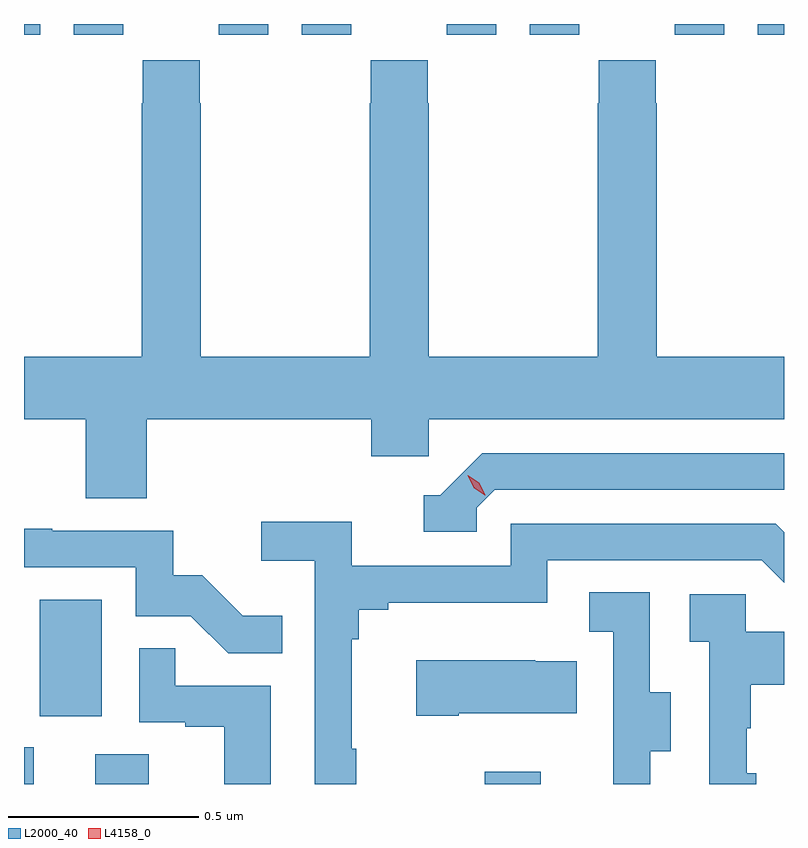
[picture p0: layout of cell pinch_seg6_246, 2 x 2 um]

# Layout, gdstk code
import gdstk
lib = gdstk.Library(unit=1e-6, precision=1e-09)
def R(c, l, rs):  # rectangles x0, y0, x1, y1
    for r in rs: c.add(gdstk.rectangle(r[:2], r[2:], *l))
def P(c, l, *ps):  # polygons
    for p in ps: c.add(gdstk.Polygon(p, *l))
L2000_40 = (2000, 40)
L4158_0 = (4158, 0)

pinch_seg6_246 = lib.new_cell('pinch_seg6_246')
R(pinch_seg6_246, L2000_40, [(1078.365,929.06,1078.39,929.157), (1078.553,929.06,1078.693,929.138), (1079.578,929.06,1079.725,929.092), (1078.406,929.238,1078.57,929.545), (1078.365,931.032,1078.408,931.06), (1078.496,931.032,1078.626,931.06), (1078.878,931.032,1079.008,931.06), (1079.096,931.032,1079.226,931.06), (1079.478,931.032,1079.608,931.06), (1079.696,931.032,1079.826,931.06), (1080.078,931.032,1080.208,931.06), (1080.296,931.032,1080.365,931.06)])
P(pinch_seg6_246, L2000_40, [(1078.688,930.02),(1079.279,930.02),(1079.279,929.922),(1079.43,929.922),(1079.43,930.02),(1080.365,930.02),(1080.365,930.184),(1080.03,930.184),(1080.03,930.851),(1080.027,930.851),(1080.027,930.964),(1079.877,930.964),(1079.877,930.851),(1079.875,930.851),(1079.875,930.184),(1079.43,930.184),(1079.43,930.851),(1079.427,930.851),(1079.427,930.964),(1079.277,930.964),(1079.277,930.851),(1079.275,930.851),(1079.275,930.184),(1078.83,930.184),(1078.83,930.851),(1078.827,930.851),(1078.827,930.964),(1078.677,930.964),(1078.677,930.851),(1078.675,930.851),(1078.675,930.184),(1078.365,930.184),(1078.365,930.02),(1078.528,930.02),(1078.528,929.812),(1078.688,929.812)],
  [(1079.556,929.787),(1079.604,929.835),(1080.365,929.835),(1080.365,929.931),(1079.571,929.931),(1079.46,929.82),(1079.417,929.82),(1079.417,929.724),(1079.556,929.724)],
  [(1079.239,929.153),(1079.227,929.153),(1079.227,929.441),(1079.246,929.441),(1079.246,929.518),(1079.323,929.518),(1079.323,929.537),(1079.742,929.537),(1079.742,929.649),(1080.306,929.649),(1080.365,929.59),(1080.365,929.723),(1080.343,929.745),(1079.646,929.745),(1079.646,929.634),(1079.228,929.634),(1079.228,929.75),(1078.989,929.75),(1078.989,929.648),(1079.13,929.648),(1079.13,929.06),(1079.239,929.06)],
  [(1079.045,929.503),(1078.941,929.503),(1078.834,929.61),(1078.758,929.61),(1078.758,929.727),(1078.439,929.727),(1078.439,929.732),(1078.365,929.732),(1078.365,929.631),(1078.659,929.631),(1078.659,929.502),(1078.804,929.502),(1078.902,929.404),(1079.045,929.404)],
  [(1080.013,929.146),(1080.067,929.146),(1080.067,929.301),(1080.012,929.301),(1080.012,929.564),(1079.853,929.564),(1079.853,929.461),(1079.916,929.461),(1079.916,929.157),(1079.915,929.157),(1079.915,929.06),(1080.013,929.06)],
  [(1080.292,929.088),(1080.267,929.088),(1080.267,929.207),(1080.277,929.207),(1080.277,929.321),(1080.365,929.321),(1080.365,929.461),(1080.264,929.461),(1080.264,929.559),(1080.117,929.559),(1080.117,929.435),(1080.168,929.435),(1080.168,929.06),(1080.292,929.06)],
  [(1079.014,929.319),(1078.763,929.319),(1078.763,929.417),(1078.668,929.417),(1078.668,929.223),(1078.789,929.223),(1078.789,929.211),(1078.892,929.211),(1078.892,929.06),(1079.014,929.06)],
  [(1079.509,929.246),(1079.819,929.246),(1079.819,929.383),(1079.711,929.383),(1079.711,929.386),(1079.397,929.386),(1079.397,929.239),(1079.509,929.239)])
P(pinch_seg6_246, L4158_0, [(1079.578,929.82),(1079.548,929.84),(1079.533,929.873),(1079.533,929.873),(1079.533,929.873),(1079.563,929.853),(1079.579,929.82),(1079.579,929.82)])

lib.write_gds('pinch_seg6_246.gds')
